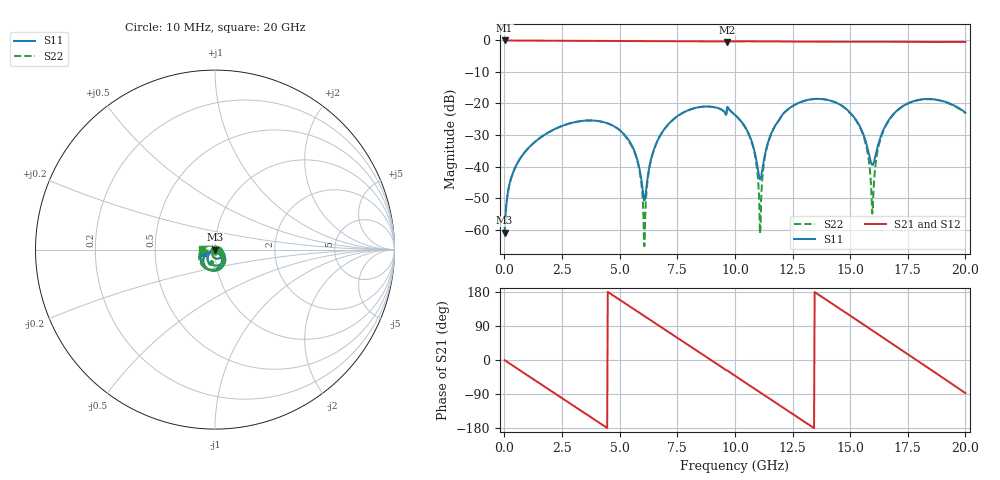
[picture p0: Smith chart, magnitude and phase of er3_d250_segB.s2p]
! Stitch-rule transferability - stripline, 2 mm stitch pitch, cut at x=20 mm
! Case: er3_d250_segB
! Sweep: 10 MHz - 20 GHz, 25 MHz step, 4 cores
# GHz S MA R 50.000000
! Terminal data exported
! Port[1] = U1.PAD1.SIG
! Port[2] = U2.PAD1.SIG
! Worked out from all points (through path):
!   801 points, 10 MHz to 20 GHz, reference 50 ohm
!   highest |S21| = -0.01 dB at 10 MHz (marker M1); lowest = -0.5 dB at 9.66 GHz (marker M2)
!   group delay of S21, straight-line fit = 112 ps
!   lowest |S11| = -61.0 dB at 10 MHz (marker M3), VSWR 1.00, Z = 50.1 + j0.0527 ohm
!   |S11| at or under -10 dB: start of sweep to end of sweep
!   |S22| runs from -65.3 to -18.5 dB; largest |S21 - S12| = 0
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0.01  0.0008959 36.0  0.9992 -0.4  0.9992 -0.4  0.0008959 36.0
0.285  0.006394 58.5  0.9969 -11.6  0.9969 -11.6  0.006386 58.8
0.835  0.01601 45.8  0.9942 -33.8  0.9942 -33.8  0.01598 46.6
2.11  0.03804 0.9  0.9892 -85.1  0.9892 -85.1  0.03799 2.3
3.36  0.05289 -46.7  0.9848 -135.2  0.9848 -135.2  0.05286 -45.6
5.36  0.02727 -121.8  0.9803 144.6  0.9803 144.6  0.02649 -125.5
5.81  0.01125 -130.6  0.9795 126.5  0.9795 126.5  0.01061 -142.7
6.06  0.00291 -76.5  0.9791 116.5  0.9791 116.5  0.0005452 -136.3
6.685  0.02761 -5.3  0.9772 91.3  0.9772 91.3  0.0274 1.4
8.31  0.08556 -64.6  0.9701 26.2  0.9701 26.2  0.08537 -63.6
9.66  0.08613 -100.0  0.9444 -27.5  0.9444 -27.5  0.08558 -102.0
10.01  0.06553 -128.1  0.9676 -41.8  0.9676 -41.8  0.06526 -131.7
10.735  0.02468 -147.5  0.9679 -71.1  0.9679 -71.1  0.02392 -161.9
11.11  0.006293 -78.0  0.9674 -86.2  0.9674 -86.2  0.001013 27.7
11.685  0.04051 -27.9  0.9644 -109.5  0.9644 -109.5  0.04009 -18.7
13.36  0.1172 -86.8  0.9558 -176.8  0.9558 -176.8  0.1169 -87.1
15.26  0.05451 -153.4  0.957 106.7  0.957 106.7  0.05352 -165.2
15.685  0.02447 -155.4  0.9573 89.3  0.9573 89.3  0.02218 174.6
15.96  0.01057 -104.5  0.957 78.1  0.957 78.1  0.001793 95.2
16.685  0.05517 -50.7  0.9538 48.5  0.9538 48.5  0.05392 -40.3
18.235  0.1174 -103.4  0.9453 -14.7  0.9453 -14.7  0.1164 -106.5
20  0.07168 -165.4  0.9456 -87.4  0.9456 -87.4  0.0705 175.4
